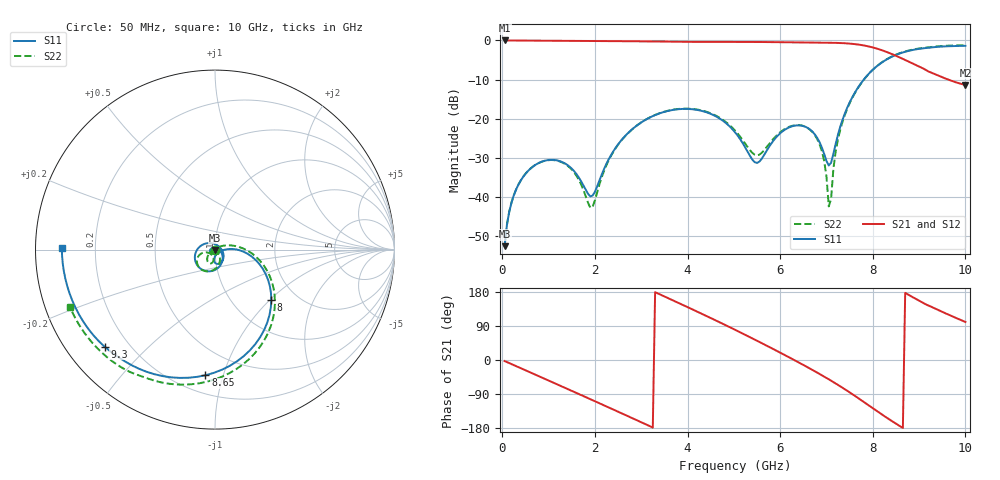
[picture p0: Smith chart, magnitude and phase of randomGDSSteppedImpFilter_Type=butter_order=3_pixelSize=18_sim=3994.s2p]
! freq	dB(S11)	phase(S11)	dB(S12)	phase(S12)
!  dB(S21)	phase(S21)	dB(S22)	phase(S22)
!S-par simulation data
#  GHz  S  DB  R 50
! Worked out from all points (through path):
!   200 points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, 50 MHz to 10 GHz, reference 50 ohm
!   highest |S21| = 0.00 dB at 50 MHz (marker M1); lowest = -11.4 dB at 10 GHz (marker M2)
!   group delay of S21, straight-line fit = 175 ps
!   lowest |S11| = -52.6 dB at 50 MHz (marker M3), VSWR 1.00, Z = 50 - j0.23 ohm
!   |S11| at or under -10 dB: start of sweep to 7.808 GHz
!   |S22| runs from -52.6 to -1.2 dB; largest |S21 - S12| = 0
!   S11 on the Smith chart (normalised r, x): 50 MHz: 1.00, -0.00; 8 GHz: 1.50, -1.02; 8.65 GHz: 0.32, -0.88; 9.3 GHz: 0.11, -0.37; 10 GHz: 0.08, +0.00
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0.05  -52.65 -80.0  -0.00 -2.8  -0.00 -2.8  -52.57 -80.1
0.25  -39.59 -102.5  -0.02 -13.6  -0.02 -13.6  -39.57 -100.0
0.7  -31.96 -132.5  -0.05 -38.0  -0.05 -38.0  -31.96 -124.6
1.3  -31.15 -173.7  -0.09 -70.5  -0.09 -70.5  -31.27 -152.0
1.75  -37.09 133.2  -0.11 -95.1  -0.11 -95.1  -38.21 -153.5
1.95  -39.71 65.0  -0.12 -106.0  -0.12 -106.0  -42.59 -93.5
2.5  -26.61 -32.7  -0.17 -136.4  -0.17 -136.4  -26.69 -56.4
3.4  -18.64 -94.0  -0.30 173.4  -0.30 173.4  -18.60 -97.1
4.3  -18.00 -151.3  -0.38 122.4  -0.38 122.4  -17.89 -140.5
5.05  -23.86 149.1  -0.38 78.3  -0.38 78.3  -23.38 -165.6
5.5  -31.34 53.2  -0.39 50.9  -0.39 50.9  -29.40 -130.4
6.15  -22.50 -56.6  -0.47 9.9  -0.47 9.9  -22.34 -102.9
6.7  -23.38 -92.6  -0.54 -26.4  -0.54 -26.4  -23.49 -130.7
6.95  -29.03 -87.3  -0.56 -43.8  -0.56 -43.8  -30.82 -151.7
7.05  -32.00 -54.8  -0.58 -50.9  -0.58 -50.9  -42.47 166.7
7.2  -26.41 -2.8  -0.62 -62.0  -0.62 -62.0  -28.35 29.7
7.35  -20.19 2.1  -0.69 -73.5  -0.69 -73.5  -20.70 14.7
8  -7.51 -41.8  -1.79 -127.1  -1.79 -127.1  -7.51 -37.9
8.35  -4.53 -70.8  -3.18 -156.2  -3.18 -156.2  -4.48 -65.3
8.65  -3.07 -94.4  -4.72 -179.3  -4.72 -179.3  -2.99 -86.7
9.3  -1.73 -138.7  -8.42 138.4  -8.42 138.4  -1.61 -125.0
10  -1.38 179.4  -11.40 100.4  -11.40 100.4  -1.22 -158.5
